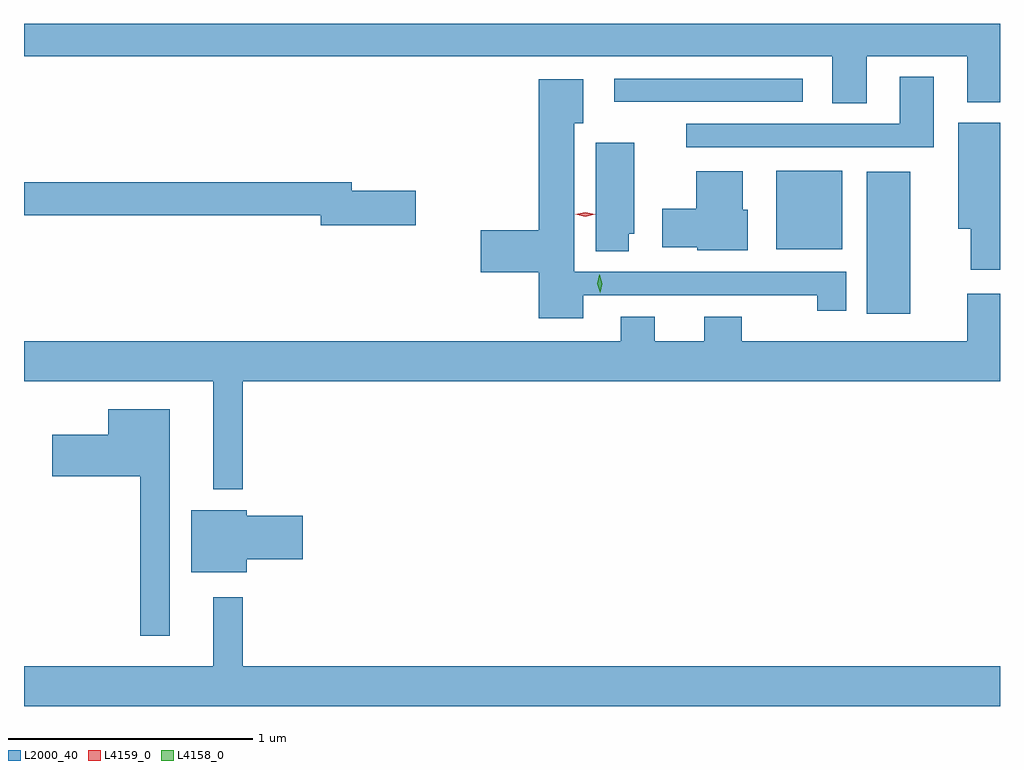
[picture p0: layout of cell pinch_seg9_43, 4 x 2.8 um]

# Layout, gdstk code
import gdstk
lib = gdstk.Library(unit=1e-6, precision=1e-09)
def R(c, l, rs):  # rectangles x0, y0, x1, y1
    for r in rs: c.add(gdstk.rectangle(r[:2], r[2:], *l))
def P(c, l, *ps):  # polygons
    for p in ps: c.add(gdstk.Polygon(p, *l))
L2000_40 = (2000, 40)
L4158_0 = (4158, 0)
L4159_0 = (4159, 0)

pinch_seg9_43 = lib.new_cell('pinch_seg9_43')
R(pinch_seg9_43, L2000_40, [(990.092,1247.312,990.271,1247.893), (989.72,1247.576,989.992,1247.899), (989.058,1248.18,989.83,1248.276)])
P(pinch_seg9_43, L2000_40, [(990.091,1248.368),(990.503,1248.368),(990.503,1248.179),(990.638,1248.179),(990.638,1248.5),(986.638,1248.5),(986.638,1248.368),(989.951,1248.368),(989.951,1248.175),(990.091,1248.175)],
  [(990.367,1248.283),(990.227,1248.283),(990.227,1248.09),(989.352,1248.09),(989.352,1247.994),(990.367,1247.994)],
  [(988.93,1247.388),(989.662,1247.388),(989.662,1247.387),(989.89,1247.387),(989.89,1247.325),(990.007,1247.325),(990.007,1247.484),(988.894,1247.484),(988.894,1248.092),(988.93,1248.092),(988.93,1248.274),(988.748,1248.274),(988.748,1247.654),(988.509,1247.654),(988.509,1247.483),(988.748,1247.483),(988.748,1247.294),(988.93,1247.294)],
  [(990.638,1248.094),(990.467,1248.094),(990.467,1247.66),(990.518,1247.66),(990.518,1247.493),(990.638,1247.493)],
  [(989.116,1247.64),(989.14,1247.64),(989.14,1248.013),(988.982,1248.013),(988.982,1247.569),(989.116,1247.569)],
  [(989.605,1247.739),(989.584,1247.739),(989.584,1247.896),(989.393,1247.896),(989.393,1247.743),(989.253,1247.743),(989.253,1247.585),(989.397,1247.585),(989.397,1247.573),(989.605,1247.573)],
  [(988.243,1247.816),(987.982,1247.816),(987.982,1247.852),(986.638,1247.852),(986.638,1247.716),(987.854,1247.716),(987.854,1247.674),(988.243,1247.674)],
  [(987.535,1247.036),(990.638,1247.036),(990.638,1247.395),(990.503,1247.395),(990.503,1247.2),(989.579,1247.2),(989.579,1247.299),(989.426,1247.299),(989.426,1247.2),(989.224,1247.2),(989.224,1247.299),(989.084,1247.299),(989.084,1247.2),(986.638,1247.2),(986.638,1247.036),(987.413,1247.036),(987.413,1246.592),(987.535,1246.592)],
  [(987.235,1246.921),(986.984,1246.921),(986.984,1246.816),(986.754,1246.816),(986.754,1246.646),(987.114,1246.646),(987.114,1245.993),(987.235,1245.993)],
  [(987.55,1246.306),(987.781,1246.306),(987.781,1246.484),(987.55,1246.484),(987.55,1246.507),(987.323,1246.507),(987.323,1246.253),(987.55,1246.253)],
  [(990.638,1245.868),(987.535,1245.868),(987.535,1246.15),(987.413,1246.15),(987.413,1245.868),(986.638,1245.868),(986.638,1245.704),(990.638,1245.704)])
P(pinch_seg9_43, L4158_0, [(988.999,1247.399),(988.999,1247.399),(988.988,1247.435),(988.996,1247.471),(988.997,1247.471),(988.997,1247.471),(989.008,1247.436),(988.999,1247.399)])
P(pinch_seg9_43, L4159_0, [(988.939,1247.709),(988.898,1247.719),(988.898,1247.719),(988.898,1247.719),(988.938,1247.729),(988.979,1247.72),(988.979,1247.72),(988.979,1247.72)])

lib.write_gds('pinch_seg9_43.gds')
